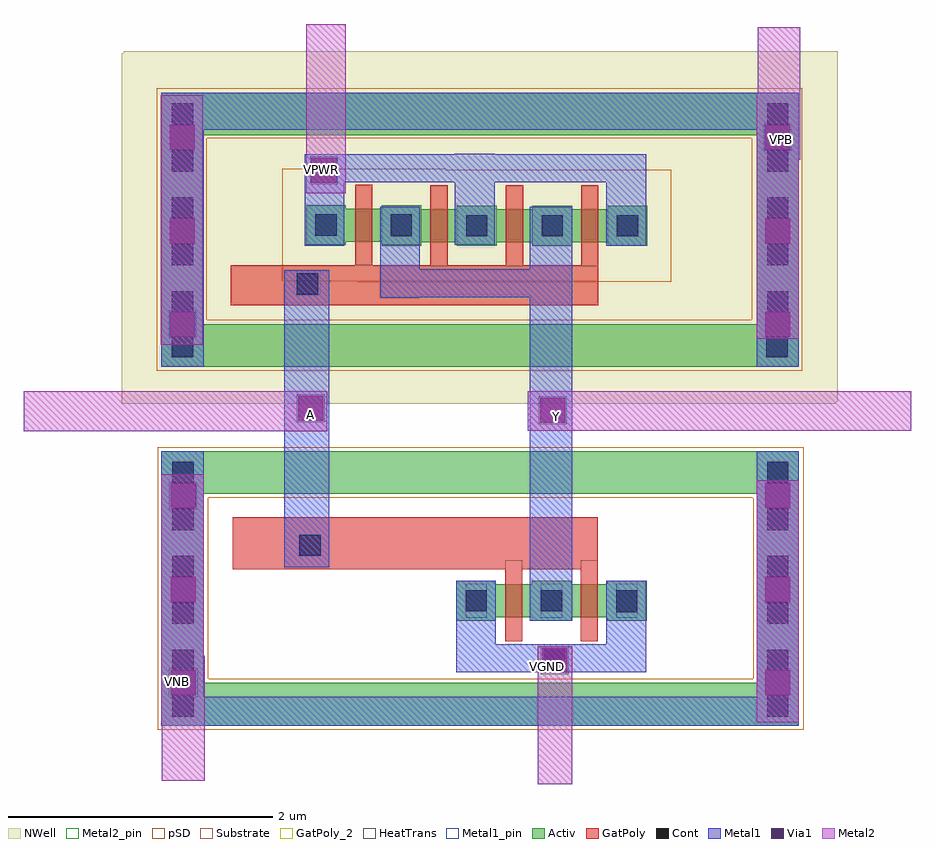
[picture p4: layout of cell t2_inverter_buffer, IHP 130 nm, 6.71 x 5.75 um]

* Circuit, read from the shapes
.subckt t2_inverter_buffer A VGND VNB VPB VPWR Y
XM1 Y A VGND VNB sg13_lv_nmos w=0.25u l=0.13u m=2
XM2 Y A VPWR n1 sg13_lv_pmos w=0.25u l=0.13u m=4
.ends

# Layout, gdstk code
import gdstk
lib = gdstk.Library(unit=1e-6, precision=1e-09)
def R(c, l, rs):  # rectangles x0, y0, x1, y1
    for r in rs: c.add(gdstk.rectangle(r[:2], r[2:], *l))
def A(c, l, x, y, w, h, nx, ny, dx, dy):  # array of equal rectangles
    R(c, l, [(x+i*dx, y+j*dy, x+i*dx+w, y+j*dy+h) for i in range(nx) for j in range(ny)])
Activ = (1, 0)
GatPoly = (5, 0)
GatPoly_2 = (5, 2)
Cont = (6, 0)
Metal1 = (8, 0)
Metal1_pin = (8, 2)
Metal2 = (10, 0)
Metal2_pin = (10, 2)
pSD = (14, 0)
Via1 = (19, 0)
NWell = (31, 0)
Substrate = (40, 0)
HeatTrans = (51, 0)

nmos_2 = lib.new_cell('nmos$2')
R(nmos_2, Activ, [(0,0,0.3,0.3), (0.57,0,0.87,0.3), (0,0.025,0.87,0.275)])
R(nmos_2, GatPoly, [(0.37,-0.155,0.5,0.455)])
R(nmos_2, GatPoly_2, [(0.37,-0.155,0.5,0.455)])
R(nmos_2, Cont, [(0.07,0.07,0.23,0.23), (0.64,0.07,0.8,0.23)])
R(nmos_2, Metal1, [(0.07,0.02,0.23,0.28), (0.64,0.02,0.8,0.28)])
R(nmos_2, Metal1_pin, [(0.07,0.02,0.23,0.28), (0.64,0.02,0.8,0.28)])
R(nmos_2, HeatTrans, [(0.37,-0.155,0.5,0.455)])
nmos_2.add(gdstk.Label('nmos', (0.435,0.15), layer=63, texttype=0))
nmos_2.add(gdstk.Label('nmos', (0.435,0.15), layer=51, texttype=0))

pmos_2 = lib.new_cell('pmos$2')
R(pmos_2, Activ, [(0,0,0.3,0.3), (0.57,0,0.87,0.3), (0,0.025,0.87,0.275)])
R(pmos_2, GatPoly, [(0.37,-0.155,0.5,0.455), (0.37,-0.155,0.5,0.455)])
R(pmos_2, Cont, [(0.07,0.07,0.23,0.23), (0.64,0.07,0.8,0.23)])
R(pmos_2, Metal1, [(0.07,0.02,0.23,0.28), (0.07,0.02,0.23,0.28), (0.64,0.02,0.8,0.28), (0.64,0.02,0.8,0.28)])
R(pmos_2, pSD, [(-0.18,-0.275,1.05,0.575)])
R(pmos_2, NWell, [(-0.31,-0.31,1.18,0.61)])
R(pmos_2, Substrate, [(0.57,0,0.87,0.3)])
R(pmos_2, HeatTrans, [(0.37,-0.155,0.5,0.455)])
pmos_2.add(gdstk.Label('pmos', (0.435,0.15), layer=63, texttype=0))
pmos_2.add(gdstk.Label('pmos', (0.435,0.15), layer=51, texttype=0))

t2_inverter_buffer = lib.new_cell('t2_inverter_buffer')
R(t2_inverter_buffer, Activ, [(-6.24,-2.595,-1.74,-2.27), (-1.74,-2.595,-1.42,-0.84), (-6.24,-2.27,-5.92,-0.52), (-5.92,-0.84,-1.42,-0.52), (-6.24,0.12,-1.74,0.44), (-1.74,0.12,-1.42,1.87), (-6.24,0.44,-5.92,2.19), (-5.92,1.87,-1.42,2.19)])
R(t2_inverter_buffer, GatPoly, [(-5.7,-1.41,-2.94,-1.02), (-5.715,0.585,-2.935,0.885)])
A(t2_inverter_buffer, Cont, -6.155, -2.18, 0.16, 0.16, 1, 5, 0, 0.355)
A(t2_inverter_buffer, Cont, -1.66, -2.18, 0.16, 0.16, 1, 5, 0, 0.355)
A(t2_inverter_buffer, Cont, -6.16, 0.53, 0.16, 0.16, 1, 5, 0, 0.355)
A(t2_inverter_buffer, Cont, -1.66, 0.53, 0.16, 0.16, 1, 5, 0, 0.355)
R(t2_inverter_buffer, Cont, [(-6.155,-2.525,-5.995,-2.36), (-1.66,-2.525,-1.5,-2.36), (-3.345,-2.175,-3.185,-2.015), (-2.8,-1.735,-2.64,-1.575), (-3.94,-1.73,-3.78,-1.57), (-3.37,-1.73,-3.21,-1.57), (-5.195,-1.31,-5.035,-1.15), (-6.16,0.19,-6,0.35), (-1.665,0.19,-1.505,0.35), (-5.215,0.665,-5.055,0.825)])
R(t2_inverter_buffer, Metal1, [(-6.24,-2.595,-5.92,-0.52), (-6.24,-2.595,-5.92,-0.52), (-5.92,-2.595,-1.74,-2.375), (-1.74,-2.595,-1.42,-0.52), (-4.01,-2.19,-3.71,-1.5), (-3.715,-2.19,-2.875,-1.98), (-2.875,-2.19,-2.575,-1.5), (-3.455,-1.8,-3.135,1.33), (-5.31,-1.395,-4.97,0.85), (-6.24,0.12,-5.92,2.19), (-1.74,0.12,-1.42,2.19), (-4.585,0.64,-4.285,1.33), (-4.295,0.645,-3.455,0.855), (-5.155,1.035,-4.855,1.725), (-2.875,1.035,-2.575,1.725), (-4.02,1.04,-3.72,1.73), (-4.855,1.515,-4.015,1.725), (-3.72,1.515,-2.875,1.725), (-5.92,1.91,-1.74,2.19)])
R(t2_inverter_buffer, Metal2, [(-3.395,-3.035,-3.135,-1.995), (-6.235,-3.01,-5.91,-2.065), (-6.24,-2.57,-5.92,-0.695), (-1.74,-2.57,-1.42,-0.74), (-7.28,-0.37,-4.985,-0.065), (-3.47,-0.365,-0.57,-0.065), (-6.245,0.285,-5.925,2.17), (-1.74,0.33,-1.42,2.175), (-5.145,1.43,-4.845,2.71), (-1.73,1.685,-1.41,2.685)])
R(t2_inverter_buffer, Metal2_pin, [(-6.185,-2.38,-5.965,-2.16), (-3.37,-2.205,-3.16,-1.995), (-6.18,-0.96,-5.97,-0.75), (-3.385,-0.315,-3.175,-0.105), (-5.215,-0.3,-5.005,-0.09), (-6.185,0.335,-5.975,0.545), (-5.115,1.5,-4.905,1.71), (-1.685,1.75,-1.475,1.955)])
R(t2_inverter_buffer, pSD, [(-6.265,-2.625,-1.765,-2.24), (-1.765,-2.625,-1.385,-0.87), (-6.265,-2.24,-5.885,-0.49), (-5.885,-0.87,-1.385,-0.49), (-6.275,0.09,-1.775,0.475), (-1.775,0.09,-1.395,1.845), (-6.275,0.475,-5.895,2.225), (-5.895,1.845,-1.395,2.225)])
R(t2_inverter_buffer, Via1, [(-6.17,-2.365,-5.98,-2.175), (-1.675,-2.365,-1.485,-2.175), (-3.36,-2.195,-3.17,-2.005), (-6.17,-1.66,-5.98,-1.47), (-1.675,-1.66,-1.485,-1.47), (-6.17,-0.95,-5.98,-0.76), (-1.675,-0.95,-1.485,-0.76), (-3.375,-0.305,-3.185,-0.115), (-5.205,-0.29,-5.015,-0.1), (-6.175,0.345,-5.985,0.535), (-1.675,0.345,-1.485,0.535), (-6.175,1.05,-5.985,1.24), (-1.675,1.05,-1.485,1.24), (-5.105,1.51,-4.915,1.7), (-6.175,1.76,-5.985,1.95), (-1.675,1.76,-1.485,1.95)])
R(t2_inverter_buffer, NWell, [(-6.54,-0.16,-1.14,2.49), (-6.525,-0.145,-1.125,2.505)])
t2_inverter_buffer.add(gdstk.Reference(nmos_2, (-3.44,-1.8)))
t2_inverter_buffer.add(gdstk.Reference(nmos_2, (-4.01,-1.8)))
t2_inverter_buffer.add(gdstk.Reference(pmos_2, (-4.005,1.035)))
t2_inverter_buffer.add(gdstk.Reference(pmos_2, (-3.435,1.035)))
t2_inverter_buffer.add(gdstk.Reference(pmos_2, (-4.575,1.035)))
t2_inverter_buffer.add(gdstk.Reference(pmos_2, (-5.145,1.04)))
t2_inverter_buffer.add(gdstk.Label('A', (-5.11,-0.24), layer=10, texttype=2))
t2_inverter_buffer.add(gdstk.Label('Y', (-3.25,-0.255), layer=10, texttype=2))
t2_inverter_buffer.add(gdstk.Label('VPB', (-1.55,1.84), layer=10, texttype=2))
t2_inverter_buffer.add(gdstk.Label('VPWR', (-5.03,1.61), layer=10, texttype=2))
t2_inverter_buffer.add(gdstk.Label('VGND', (-3.32,-2.15), layer=10, texttype=2))
t2_inverter_buffer.add(gdstk.Label('VNB', (-6.115,-2.26), layer=10, texttype=2))

lib.write_gds('t2_inverter_buffer.gds')
